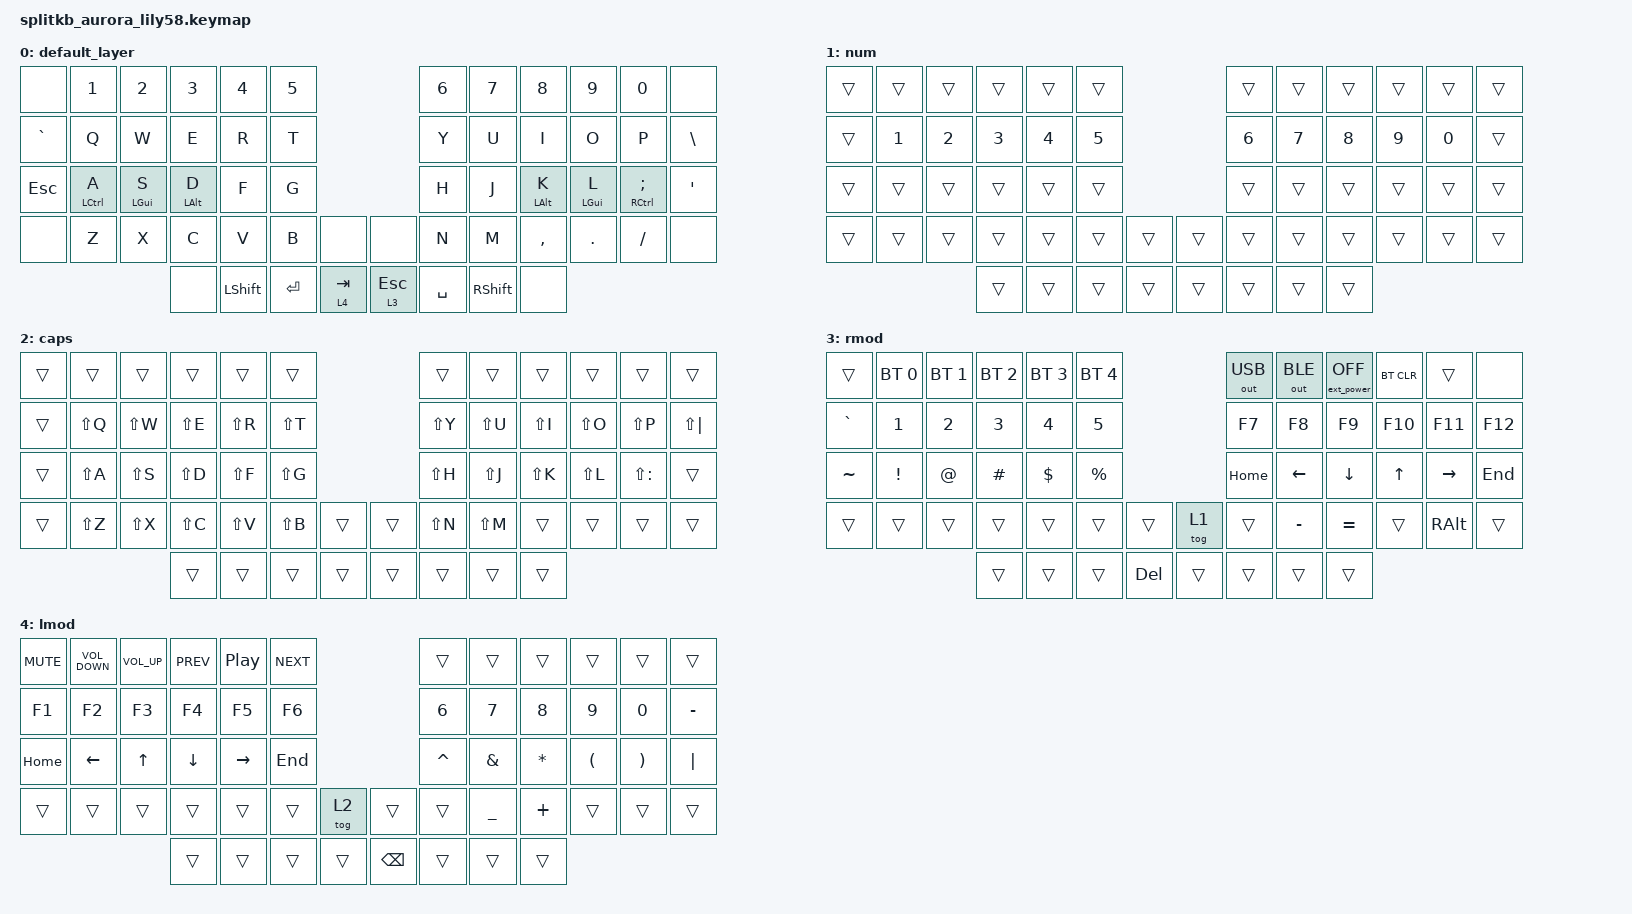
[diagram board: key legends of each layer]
/*
 * Copyright (c) 2020 The ZMK Contributors
 *
 * SPDX-License-Identifier: MIT
 */

#include <behaviors.dtsi>
#include <dt-bindings/zmk/bt.h>
#include <dt-bindings/zmk/ext_power.h>
#include <dt-bindings/zmk/keys.h>
#include <dt-bindings/zmk/outputs.h>

/ {
    behaviors {
        hml: home_row_mod_left {
            compatible = "zmk,behavior-hold-tap";
            #binding-cells = <2>;
            flavor = "balanced";
            require-prior-idle-ms = <150>;
            tapping-term-ms = <200>;
            quick-tap-ms = <175>;
            bindings = <&kp>, <&kp>;

            hold-trigger-on-release;
            hold-trigger-key-positions = <22 6 7 8 9 10 11 18 19 20 21 22 23 30 31 32 33 34 35 43 44 45 46 47 48 49 54 55 56 57 50 51 52 53>;
        };

        hmr: home_row_mod_right {
            compatible = "zmk,behavior-hold-tap";
            #binding-cells = <2>;
            flavor = "balanced";
            require-prior-idle-ms = <150>;
            tapping-term-ms = <200>;
            quick-tap-ms = <175>;
            bindings = <&kp>, <&kp>;

            hold-trigger-key-positions = <0 1 2 3 4 14 15 16 26 27 28 38 39 40 0 1 2 3 4 5 12 13 14 15 16 17 24 25 26 27 28 29 36 37 38 39 40 41 42 51 53 54 56 55 52 50 57>;
            hold-trigger-on-release;
        };

        homo_takp: homo_takp {
            compatible = "zmk,behavior-hold-tap";
            label = "HOMO_TAKP";
            bindings = <&mo>, <&kp>;

            #binding-cells = <2>;
            tapping-term-ms = <100>;
            retro-tap;
        };
    };

    combos {
        compatible = "zmk,combos";

        fd-brack {
            require-prior-idle-ms = <200>;
            bindings = <&kp LEFT_BRACKET>;
            key-positions = <28 27>;
        };

        jk-brack {
            require-prior-idle-ms = <200>;
            bindings = <&kp RIGHT_BRACKET>;
            key-positions = <31 32>;
        };

        sd-brace {
            require-prior-idle-ms = <200>;
            bindings = <&kp LEFT_BRACE>;
            key-positions = <26 27>;
        };

        kl-brace {
            require-prior-idle-ms = <200>;
            bindings = <&kp RIGHT_BRACE>;
            key-positions = <32 33>;
        };

        as-paren {
            require-prior-idle-ms = <200>;
            bindings = <&kp LEFT_PARENTHESIS>;
            key-positions = <25 26>;
        };

        lsem-paren {
            require-prior-idle-ms = <200>;
            bindings = <&kp RIGHT_PARENTHESIS>;
            key-positions = <33 34>;
        };

        caps_word {
            require-prior-idle-ms = <200>;
            bindings = <&caps_word>;
            key-positions = <51 56>;
        };

        toggle_num {
            require-prior-idle-ms = <200>;
            bindings = <&tog 1>;
            key-positions = <52 55>;
        };
    };

    keymap {
        compatible = "zmk,keymap";

        default_layer {
            bindings = <
&none       &kp N1        &kp N2       &kp N3       &kp N4      &kp N5                                              &kp N6     &kp N7      &kp N8       &kp N9       &kp N0           &none
&kp GRAVE   &kp Q         &kp W        &kp E        &kp R       &kp T                                               &kp Y      &kp U       &kp I        &kp O        &kp P            &kp BACKSLASH
&kp ESCAPE  &hml LCTRL A  &hml LGUI S  &hml LALT D  &kp F       &kp G                                               &kp H      &kp J       &hmr LALT K  &hmr LGUI L  &hmr RCTRL SEMI  &kp SQT
&none       &kp Z         &kp X        &kp C        &kp V       &kp B      &none               &none                &kp N      &kp M       &kp COMMA    &kp DOT      &kp FSLH         &none
                                       &none        &kp LSHIFT  &kp ENTER  &homo_takp 4 TAB    &homo_takp 3 ESCAPE  &kp SPACE  &kp RSHIFT  &none
            >;
        };

        num {
            bindings = <
&trans  &trans  &trans  &trans  &trans  &trans                    &trans  &trans  &trans  &trans  &trans  &trans
&trans  &kp N1  &kp N2  &kp N3  &kp N4  &kp N5                    &kp N6  &kp N7  &kp N8  &kp N9  &kp N0  &trans
&trans  &trans  &trans  &trans  &trans  &trans                    &trans  &trans  &trans  &trans  &trans  &trans
&trans  &trans  &trans  &trans  &trans  &trans  &trans    &trans  &trans  &trans  &trans  &trans  &trans  &trans
                        &trans  &trans  &trans  &trans    &trans  &trans  &trans  &trans
            >;
        };

        caps {
            bindings = <
&trans  &trans     &trans     &trans     &trans     &trans                       &trans     &trans     &trans     &trans     &trans         &trans
&trans  &kp LS(Q)  &kp LS(W)  &kp LS(E)  &kp LS(R)  &kp LS(T)                    &kp LS(Y)  &kp LS(U)  &kp LS(I)  &kp LS(O)  &kp LS(P)      &kp LS(PIPE)
&trans  &kp LS(A)  &kp LS(S)  &kp LS(D)  &kp LS(F)  &kp LS(G)                    &kp LS(H)  &kp LS(J)  &kp LS(K)  &kp LS(L)  &kp LS(COLON)  &trans
&trans  &kp LS(Z)  &kp LS(X)  &kp LS(C)  &kp LS(V)  &kp LS(B)  &trans    &trans  &kp LS(N)  &kp LS(M)  &trans     &trans     &trans         &trans
                              &trans     &trans     &trans     &trans    &trans  &trans     &trans     &trans
            >;
        };

        rmod {
            bindings = <
&trans     &bt BT_SEL 0  &bt BT_SEL 1  &bt BT_SEL 2  &bt BT_SEL 3  &bt BT_SEL 4                        &out OUT_USB  &out OUT_BLE  &ext_power EP_OFF  &bt BT_CLR  &trans         &none
&kp GRAVE  &kp N1        &kp N2        &kp N3        &kp N4        &kp N5                              &kp F7        &kp F8        &kp F9             &kp F10     &kp F11        &kp F12
&kp TILDE  &kp EXCL      &kp AT        &kp HASH      &kp DOLLAR    &kp PRCNT                           &kp HOME      &kp LEFT      &kp DOWN           &kp UP      &kp RIGHT      &kp END
&trans     &trans        &trans        &trans        &trans        &trans        &trans        &tog 1  &trans        &kp MINUS     &kp EQUAL          &trans      &kp RIGHT_ALT  &trans
                                       &trans        &trans        &trans        &kp DELETE    &trans  &trans        &trans        &trans
            >;
        };

        lmod {
            bindings = <
&kp K_MUTE  &kp C_VOLUME_DOWN  &kp C_VOLUME_UP  &kp C_PREV  &kp C_PP   &kp C_NEXT                           &trans     &trans     &trans     &trans    &trans    &trans
&kp F1      &kp F2             &kp F3           &kp F4      &kp F5     &kp F6                               &kp N6     &kp N7     &kp N8     &kp N9    &kp N0    &kp MINUS
&kp HOME    &kp LEFT_ARROW     &kp UP_ARROW     &kp DOWN    &kp RIGHT  &kp END                              &kp CARET  &kp AMPS   &kp ASTRK  &kp LPAR  &kp RPAR  &kp PIPE
&trans      &trans             &trans           &trans      &trans     &trans      &tog 2    &trans         &trans     &kp UNDER  &kp PLUS   &trans    &trans    &trans
                                                &trans      &trans     &trans      &trans    &kp BACKSPACE  &trans     &trans     &trans
            >;
        };
    };
};
